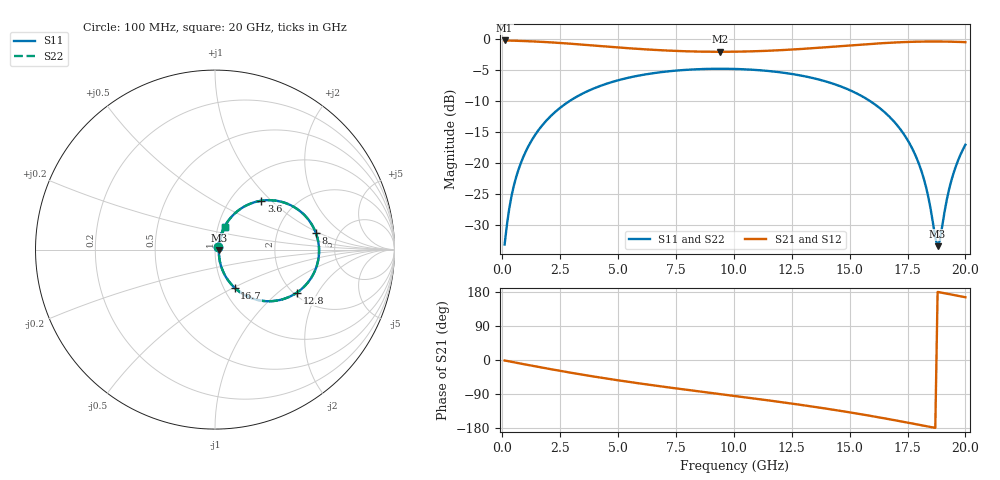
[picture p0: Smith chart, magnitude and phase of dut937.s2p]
! Touchstone file exported from HFSS 2026.1.0
!  File:  C:/ffzhzh/LocalFiles/Ansys_Project_Files/temp_train_TSV_RDL_937_1783281150_39728.aedt
!  Generated:  04:02:08 AM Jul  6, 2026
!  Design:  TSV_RDL
!  Project:  temp_train_TSV_RDL_937_1783281150_39728
! Variables:
!  h_bsmrdl = 2.32um
!  h_ox = 20um
!  h_rdl = 5um
!  h_sub = 57.64um
!  h_tmrdl = 3.97um
!  h_tsv = 57.64um
!  h_via = 3um
!  l_bsmrdl = 754.99um
!  l_sub = 3399.85um
!  l_tmrdl = 144.57um
!  m_sub = 200um
!  pitch = 58.94um
!  r_tsv = 12.19um
!  s_tmrdl = 10um
!  w_bsmrdl = 22.89um
!  w_sub = 500um
!  w_tmrdl = 29.31um
!  x_tsv_center1 = 159.225um
!  x_tsv_center2 = 937.105um
!  x_tsv_center3 = 1110.985um
!  x_tsv_center4 = 1888.865um
!  x_tsv_center5 = 2062.745um
!  x_tsv_center6 = 2840.625um
# GHz S MA R 50.000000
! Terminal data exported
! Port[1] = TM_RDL1_1_T1
! Port[2] = TM_RDL5_1_T1
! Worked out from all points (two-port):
!   200 points, 100 MHz to 20 GHz, reference 50 ohm
!   highest |S21| = -0.16 dB at 100 MHz (marker M1); lowest = -2.0 dB at 9.4 GHz (marker M2)
!   |S21| within 3 dB of the highest: start of sweep to end of sweep
!   lowest |S11| = -33.4 dB at 18.8 GHz (marker M3), VSWR 1.04, Z = 52.2 - j0.191 ohm
!   |S11| at or under -10 dB: start of sweep to 2.888 GHz; 15.9 GHz to end of sweep
!   |S22| runs from -33.3 to -4.7 dB; largest |S21 - S12| = 1.6e-14
!   S11 on the Smith chart (normalised r, x): 100 MHz: 1.04, +0.03; 3.6 GHz: 1.38, +0.87; 8 GHz: 3.36, +0.94; 12.8 GHz: 2.07, -1.36; 16.7 GHz: 1.12, -0.51; 20 GHz: 1.08, +0.28
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0.1  0.02195 35.4  0.9823 -1.2  0.9823 -1.2  0.02195 35.4
! Gamma 0 0 0 0
! Port Impedance 50 0 50 0
0.3  0.04284 60.3  0.9805 -3.7  0.9805 -3.7  0.04284 60.3
0.5  0.06584 66.2  0.9779 -6.1  0.9779 -6.1  0.06584 66.2
1.1  0.1339 67.5  0.9692 -13.0  0.9692 -13.0  0.1339 67.5
2.1  0.2411 60.3  0.9481 -24.3  0.9481 -24.3  0.2411 60.3
3.5  0.3678 47.4  0.9076 -39.1  0.9076 -39.1  0.3678 47.4
3.6  0.3756 46.5  0.9045 -40.1  0.9045 -40.1  0.3756 46.5
6.8  0.5426 18.9  0.8195 -69.2  0.8195 -69.2  0.5426 18.9
8  0.5693 9.5  0.8023 -78.9  0.8023 -78.9  0.5693 9.5
9.4  0.5799 -1.2  0.7952 -89.9  0.7952 -89.9  0.5799 -1.2
10.1  0.5773 -6.5  0.797 -95.4  0.797 -95.4  0.5773 -6.5
12.8  0.5149 -27.8  0.8357 -117.6  0.8357 -117.6  0.5149 -27.8
13.4  0.4883 -32.9  0.8503 -122.9  0.8503 -122.9  0.4883 -32.9
15.3  0.3668 -49.9  0.9037 -141.2  0.9037 -141.2  0.3668 -49.9
16.7  0.2393 -62.8  0.9405 -156.1  0.9405 -156.1  0.2394 -62.7
17.4  0.1651 -68.2  0.9538 -164.0  0.9538 -164.0  0.1651 -68.2
18  0.09785 -69.9  0.9611 -171.0  0.9611 -171.0  0.09791 -69.8
18.4  0.05309 -63.4  0.9634 -175.7  0.9634 -175.7  0.05318 -63.2
18.8  0.02129 -4.9  0.9637 179.6  0.9637 179.6  0.02152 -4.9
18.9  0.02378 23.8  0.9634 178.5  0.9634 178.5  0.02398 23.6
19.4  0.07298 64.5  0.96 172.6  0.96 172.6  0.07305 64.3
20  0.1408 66.0  0.9517 165.6  0.9517 165.6  0.1409 65.8
